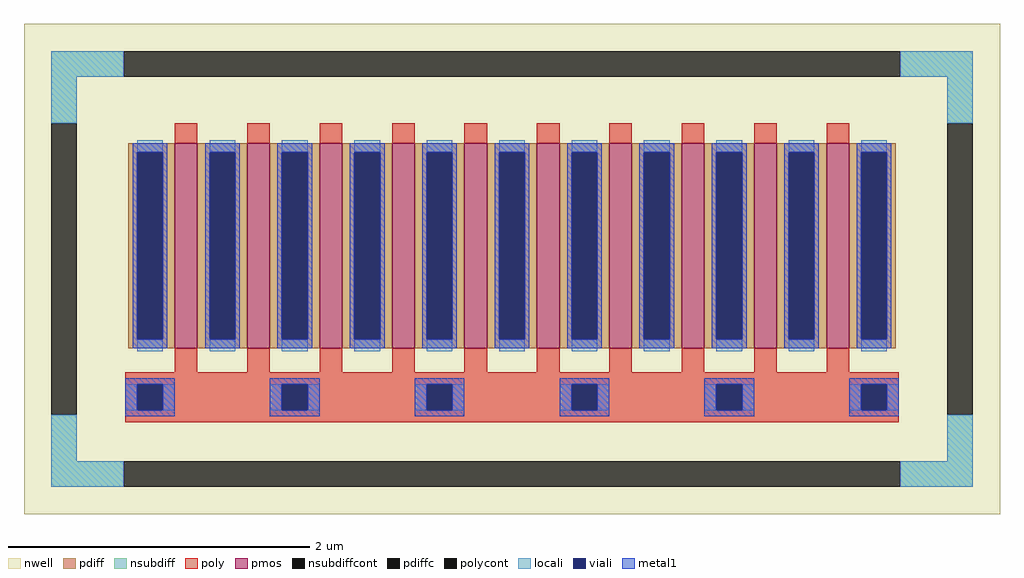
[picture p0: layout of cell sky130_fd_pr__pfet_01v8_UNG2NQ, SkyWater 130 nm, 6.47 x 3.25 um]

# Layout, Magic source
magic
tech sky130A
<< nwell >>
rect -323 -178 324 147
<< pmos >>
rect -223 -68 -208 68
rect -175 -68 -160 68
rect -127 -68 -112 68
rect -79 -68 -64 68
rect -31 -68 -16 68
rect 17 -68 32 68
rect 65 -68 80 68
rect 113 -68 128 68
rect 161 -68 176 68
rect 209 -68 224 68
<< pdiff >>
rect -254 62 -223 68
rect -254 -62 -248 62
rect -231 -62 -223 62
rect -254 -68 -223 -62
rect -208 62 -175 68
rect -208 -62 -200 62
rect -183 -62 -175 62
rect -208 -68 -175 -62
rect -160 62 -127 68
rect -160 -62 -152 62
rect -135 -62 -127 62
rect -160 -68 -127 -62
rect -112 62 -79 68
rect -112 -62 -104 62
rect -87 -62 -79 62
rect -112 -68 -79 -62
rect -64 62 -31 68
rect -64 -62 -56 62
rect -39 -62 -31 62
rect -64 -68 -31 -62
rect -16 62 17 68
rect -16 -62 -8 62
rect 9 -62 17 62
rect -16 -68 17 -62
rect 32 62 65 68
rect 32 -62 40 62
rect 57 -62 65 62
rect 32 -68 65 -62
rect 80 62 113 68
rect 80 -62 88 62
rect 105 -62 113 62
rect 80 -68 113 -62
rect 128 62 161 68
rect 128 -62 136 62
rect 153 -62 161 62
rect 128 -68 161 -62
rect 176 62 209 68
rect 176 -62 184 62
rect 201 -62 209 62
rect 176 -68 209 -62
rect 224 62 255 68
rect 224 -62 232 62
rect 249 -62 255 62
rect 224 -68 255 -62
<< pdiffc >>
rect -248 -62 -231 62
rect -200 -62 -183 62
rect -152 -62 -135 62
rect -104 -62 -87 62
rect -56 -62 -39 62
rect -8 -62 9 62
rect 40 -62 57 62
rect 88 -62 105 62
rect 136 -62 153 62
rect 184 -62 201 62
rect 232 -62 249 62
<< nsubdiff >>
rect -305 112 -257 129
rect 258 112 306 129
rect -305 81 -288 112
rect 289 81 306 112
rect -305 -143 -288 -112
rect 289 -143 306 -112
rect -305 -160 -257 -143
rect 258 -160 306 -143
<< nsubdiffcont >>
rect -257 112 258 129
rect -305 -112 -288 81
rect 289 -112 306 81
rect -257 -160 258 -143
<< poly >>
rect -223 68 -208 81
rect -175 68 -160 81
rect -127 68 -112 81
rect -79 68 -64 81
rect -31 68 -16 81
rect 17 68 32 81
rect 65 68 80 81
rect 113 68 128 81
rect 161 68 176 81
rect 209 68 224 81
rect -223 -84 -208 -68
rect -175 -84 -160 -68
rect -127 -84 -112 -68
rect -79 -84 -64 -68
rect -31 -84 -16 -68
rect 17 -84 32 -68
rect 65 -84 80 -68
rect 113 -84 128 -68
rect 161 -84 176 -68
rect 209 -84 224 -68
rect -256 -92 257 -84
rect -256 -109 -248 -92
rect -231 -109 -152 -92
rect -135 -109 -56 -92
rect -39 -109 40 -92
rect 57 -109 136 -92
rect 153 -109 232 -92
rect 249 -109 257 -92
rect -256 -117 257 -109
<< polycont >>
rect -248 -109 -231 -92
rect -152 -109 -135 -92
rect -56 -109 -39 -92
rect 40 -109 57 -92
rect 136 -109 153 -92
rect 232 -109 249 -92
<< locali >>
rect -305 112 -257 129
rect 258 112 306 129
rect -305 81 -288 112
rect 289 81 306 112
rect -248 62 -231 70
rect -248 -70 -231 -62
rect -200 62 -183 70
rect -200 -70 -183 -62
rect -152 62 -135 70
rect -152 -70 -135 -62
rect -104 62 -87 70
rect -104 -70 -87 -62
rect -56 62 -39 70
rect -56 -70 -39 -62
rect -8 62 9 70
rect -8 -70 9 -62
rect 40 62 57 70
rect 40 -70 57 -62
rect 88 62 105 70
rect 88 -70 105 -62
rect 136 62 153 70
rect 136 -70 153 -62
rect 184 62 201 70
rect 184 -70 201 -62
rect 232 62 249 70
rect 232 -70 249 -62
rect -256 -109 -248 -92
rect -231 -109 -223 -92
rect -160 -109 -152 -92
rect -135 -109 -127 -92
rect -64 -109 -56 -92
rect -39 -109 -31 -92
rect 32 -109 40 -92
rect 57 -109 65 -92
rect 128 -109 136 -92
rect 153 -109 161 -92
rect 224 -109 232 -92
rect 249 -109 257 -92
rect -305 -143 -288 -112
rect 289 -143 306 -112
rect -305 -160 -257 -143
rect 258 -160 306 -143
<< viali >>
rect -248 -62 -231 62
rect -200 -62 -183 62
rect -152 -62 -135 62
rect -104 -62 -87 62
rect -56 -62 -39 62
rect -8 -62 9 62
rect 40 -62 57 62
rect 88 -62 105 62
rect 136 -62 153 62
rect 184 -62 201 62
rect 232 -62 249 62
rect -248 -109 -231 -92
rect -152 -109 -135 -92
rect -56 -109 -39 -92
rect 40 -109 57 -92
rect 136 -109 153 -92
rect 232 -109 249 -92
<< metal1 >>
rect -251 62 -228 68
rect -251 -62 -248 62
rect -231 -62 -228 62
rect -251 -68 -228 -62
rect -203 62 -180 68
rect -203 -62 -200 62
rect -183 -62 -180 62
rect -203 -68 -180 -62
rect -155 62 -132 68
rect -155 -62 -152 62
rect -135 -62 -132 62
rect -155 -68 -132 -62
rect -107 62 -84 68
rect -107 -62 -104 62
rect -87 -62 -84 62
rect -107 -68 -84 -62
rect -59 62 -36 68
rect -59 -62 -56 62
rect -39 -62 -36 62
rect -59 -68 -36 -62
rect -11 62 12 68
rect -11 -62 -8 62
rect 9 -62 12 62
rect -11 -68 12 -62
rect 37 62 60 68
rect 37 -62 40 62
rect 57 -62 60 62
rect 37 -68 60 -62
rect 85 62 108 68
rect 85 -62 88 62
rect 105 -62 108 62
rect 85 -68 108 -62
rect 133 62 156 68
rect 133 -62 136 62
rect 153 -62 156 62
rect 133 -68 156 -62
rect 181 62 204 68
rect 181 -62 184 62
rect 201 -62 204 62
rect 181 -68 204 -62
rect 229 62 252 68
rect 229 -62 232 62
rect 249 -62 252 62
rect 229 -68 252 -62
rect -256 -92 -223 -88
rect -256 -109 -248 -92
rect -231 -109 -223 -92
rect -256 -113 -223 -109
rect -160 -92 -127 -88
rect -160 -109 -152 -92
rect -135 -109 -127 -92
rect -160 -113 -127 -109
rect -64 -92 -31 -88
rect -64 -109 -56 -92
rect -39 -109 -31 -92
rect -64 -113 -31 -109
rect 32 -92 65 -88
rect 32 -109 40 -92
rect 57 -109 65 -92
rect 32 -113 65 -109
rect 128 -92 161 -88
rect 128 -109 136 -92
rect 153 -109 161 -92
rect 128 -113 161 -109
rect 224 -92 257 -88
rect 224 -109 232 -92
rect 249 -109 257 -92
rect 224 -113 257 -109
<< properties >>
string FIXED_BBOX -297 -151 297 151
string gencell sky130_fd_pr__pfet_01v8
string library sky130
string parameters w 1.37 l 0.15 m 1 nf 10 diffcov 100 polycov 100 guard 1 glc 1 grc 1 gtc 1 gbc 1 tbcov 100 rlcov 100 topc 1 botc 1 poverlap 0 doverlap 1 lmin 0.15 wmin 0.42 compatible {sky130_fd_pr__pfet_01v8  sky130_fd_pr__pfet_01v8_lvt sky130_fd_pr__pfet_01v8_hvt  sky130_fd_pr__pfet_g5v0d10v5} full_metal 1 viasrc 100 viadrn 100 viagate 100 viagb 0 viagr 0 viagl 0 viagt 0
<< end >>
